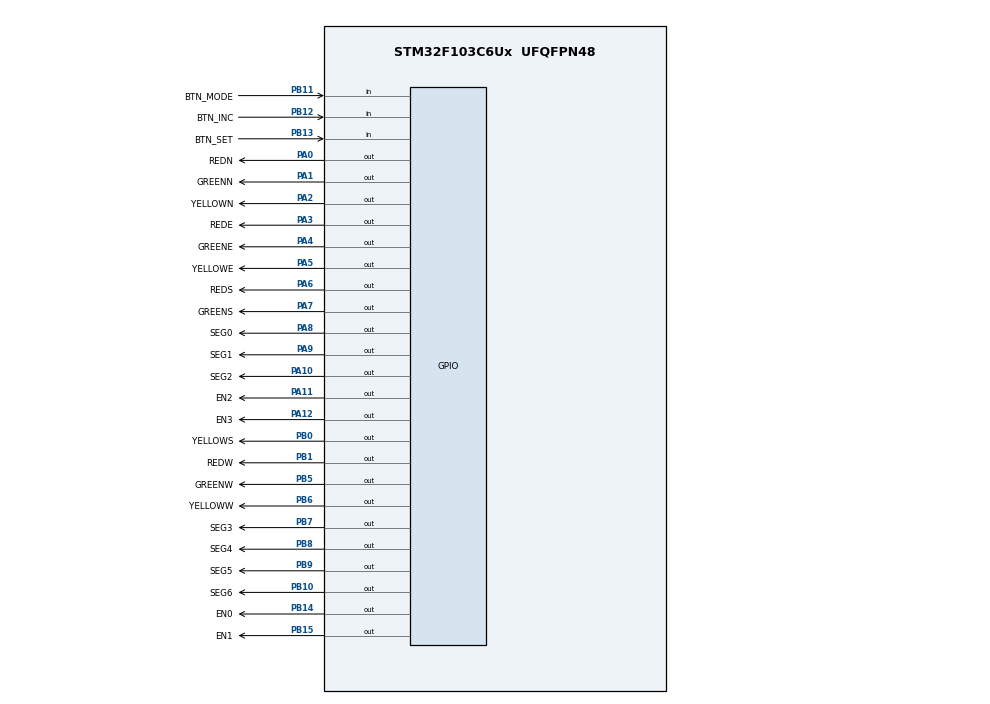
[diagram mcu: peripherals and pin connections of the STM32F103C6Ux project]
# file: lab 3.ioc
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Mcu.Family=STM32F1
Mcu.Name=STM32F103C6Ux
Mcu.Package=UFQFPN48
NVIC.PriorityGroup=NVIC_PRIORITYGROUP_4
NVIC.TIM2_IRQn=true\:0\:0\:false\:false\:true\:true\:true
PA0-WKUP.GPIO_Label=REDN
PA0-WKUP.Signal=GPIO_Output
PA1.GPIO_Label=GREENN
PA1.Signal=GPIO_Output
PA10.GPIO_Label=SEG2
PA10.Signal=GPIO_Output
PA11.GPIO_Label=EN2
PA11.Signal=GPIO_Output
PA12.GPIO_Label=EN3
PA12.Signal=GPIO_Output
PA2.GPIO_Label=YELLOWN
PA2.Signal=GPIO_Output
PA3.GPIO_Label=REDE
PA3.Signal=GPIO_Output
PA4.GPIO_Label=GREENE
PA4.Signal=GPIO_Output
PA5.GPIO_Label=YELLOWE
PA5.Signal=GPIO_Output
PA6.GPIO_Label=REDS
PA6.Signal=GPIO_Output
PA7.GPIO_Label=GREENS
PA7.Signal=GPIO_Output
PA8.GPIO_Label=SEG0
PA8.Signal=GPIO_Output
PA9.GPIO_Label=SEG1
PA9.Signal=GPIO_Output
PB0.GPIO_Label=YELLOWS
PB0.Signal=GPIO_Output
PB1.GPIO_Label=REDW
PB1.Signal=GPIO_Output
PB10.GPIO_Label=SEG6
PB10.Signal=GPIO_Output
PB11.GPIO_Label=BTN_MODE
PB11.Signal=GPIO_Input
PB12.GPIO_Label=BTN_INC
PB12.Signal=GPIO_Input
PB13.GPIO_Label=BTN_SET
PB13.Signal=GPIO_Input
PB14.GPIO_Label=EN0
PB14.Signal=GPIO_Output
PB15.GPIO_Label=EN1
PB15.Signal=GPIO_Output
PB5.GPIO_Label=GREENW
PB5.Signal=GPIO_Output
PB6.GPIO_Label=YELLOWW
PB6.Signal=GPIO_Output
PB7.GPIO_Label=SEG3
PB7.Signal=GPIO_Output
PB8.GPIO_Label=SEG4
PB8.Signal=GPIO_Output
PB9.GPIO_Label=SEG5
PB9.Signal=GPIO_Output
ProjectManager.HeapSize=0x200
ProjectManager.StackSize=0x400
ProjectManager.TargetToolchain=STM32CubeIDE
RCC.APB1Freq_Value=8000000
RCC.APB2Freq_Value=8000000
TIM2.Period=9
TIM2.Prescaler=7999
VP_SYS_VS_ND.Mode=No_Debug
VP_TIM2_VS_ClockSourceINT.Mode=Internal
board=custom

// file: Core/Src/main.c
/* USER CODE BEGIN Header */
/**
  ******************************************************************************
  * @file           : main.c
  * @brief          : Main program body
  ******************************************************************************
  * @attention
  *
  * <h2><center>&copy; Copyright (c) 2026 STMicroelectronics.
  * All rights reserved.</center></h2>
  *
  * This software component is licensed by ST under BSD 3-Clause license,
  * the "License"; You may not use this file except in compliance with the
  * License. You may obtain a copy of the License at:
  *                        opensource.org/licenses/BSD-3-Clause
  *
  ******************************************************************************
  */
/* USER CODE END Header */
#include "main.h"

/* USER CODE BEGIN Includes */
#include "input_reading.h"
#include "led_display.h"
#include <stdint.h>
/* USER CODE END Includes */

TIM_HandleTypeDef htim2;

/* USER CODE BEGIN PV */
static uint8_t mode = 1u;
static uint8_t modeButtonWasPressed = 0u;
static uint8_t redTimeEdit = 1u;       /* Giá trị đang chỉnh */
static uint8_t redTimeSaved = 1u;      /* Giá trị đã lưu */
static uint8_t incButtonWasPressed = 0u;
static uint8_t setButtonWasPressed = 0u;
static uint8_t amberTimeEdit = 1u;
static uint8_t amberTimeSaved = 1u;
static uint8_t greenTimeEdit = 1u;
static uint8_t greenTimeSaved = 1u;
/* USER CODE END PV */

void SystemClock_Config(void);
static void MX_GPIO_Init(void);
static void MX_TIM2_Init(void);

int main(void)
{

  /* MCU Configuration--------------------------------------------------------*/

  /* Reset of all peripherals, Initializes the Flash interface and the Systick. */
  HAL_Init();

  /* Configure the system clock */
  SystemClock_Config();

  /* Initialize all configured peripherals */
  MX_GPIO_Init();
  MX_TIM2_Init();
  /* USER CODE BEGIN 2 */
  /* LED outputs are active-high; 7-segment and PNP digit enables are active-low. */
  HAL_GPIO_WritePin(GPIOA, SEG0_Pin | SEG1_Pin | SEG2_Pin |
                           EN2_Pin | EN3_Pin, GPIO_PIN_SET);
  HAL_GPIO_WritePin(GPIOB, SEG3_Pin | SEG4_Pin | SEG5_Pin | SEG6_Pin |
                           EN0_Pin | EN1_Pin, GPIO_PIN_SET);

  if (HAL_TIM_Base_Start_IT(&htim2) != HAL_OK)
  {
    Error_Handler();
  }
  /* USER CODE END 2 */

  /* Infinite loop */
  while (1)
  {

    /* USER CODE BEGIN 3 */
    uint8_t modeButtonPressed = is_button_pressed(BUTTON_MODE_INDEX);
    uint8_t incButtonPressed = is_button_pressed(BUTTON_INC_INDEX);
    uint8_t setButtonPressed = is_button_pressed(BUTTON_SET_INDEX);
    uint8_t editValue = 0u;

    /* Mode button cycles through modes 1 to 4. */
    if ((modeButtonPressed != 0u) && (modeButtonWasPressed == 0u))
    {
      mode = (mode >= 4u) ? 1u : (uint8_t)(mode + 1u);

      /* Load the last saved value when entering its edit mode. */
      if (mode == 2u)
      {
        redTimeEdit = redTimeSaved;
      }
      else if (mode == 3u)
      {
        amberTimeEdit = amberTimeSaved;
      }
      else if (mode == 4u)
      {
        greenTimeEdit = greenTimeSaved;
      }
    }

    /* Mode 2: edit the main-road red-light duration. */
    if (mode == 2u)
    {
      if ((incButtonPressed != 0u) &&
          (incButtonWasPressed == 0u) &&
          (redTimeEdit < 99u))
      {
        redTimeEdit++;
      }

      if ((setButtonPressed != 0u) &&
          (setButtonWasPressed == 0u))
      {
        redTimeSaved = redTimeEdit;
      }

      editValue = redTimeEdit;
    }
    /* Mode 3: edit the amber-light duration. */
    else if (mode == 3u)
    {
      if ((incButtonPressed != 0u) &&
          (incButtonWasPressed == 0u) &&
          (amberTimeEdit < 99u))
      {
        amberTimeEdit++;
      }

      if ((setButtonPressed != 0u) &&
          (setButtonWasPressed == 0u))
      {
        amberTimeSaved = amberTimeEdit;
      }

      editValue = amberTimeEdit;
    }
    /* Mode 4: edit the green-light duration. */
    else if (mode == 4u)
    {
      if ((incButtonPressed != 0u) &&
          (incButtonWasPressed == 0u) &&
          (greenTimeEdit < 99u))
      {
        greenTimeEdit++;
      }

      if ((setButtonPressed != 0u) &&
          (setButtonWasPressed == 0u))
      {
        greenTimeSaved = greenTimeEdit;
      }

      editValue = greenTimeEdit;
    }
    /* Refresh the display once with the current mode and edit value. */
    led_display_task(mode, editValue);

    /* Update press history after all edge checks. */
    modeButtonWasPressed = modeButtonPressed;
    incButtonWasPressed = incButtonPressed;
    setButtonWasPressed = setButtonPressed;
  }
  /* USER CODE END 3 */
}

void SystemClock_Config(void)
{
  RCC_OscInitTypeDef RCC_OscInitStruct = {0};
  RCC_ClkInitTypeDef RCC_ClkInitStruct = {0};

  /** Initializes the RCC Oscillators according to the specified parameters
  * in the RCC_OscInitTypeDef structure.
  */
  RCC_OscInitStruct.OscillatorType = RCC_OSCILLATORTYPE_HSI;
  RCC_OscInitStruct.HSIState = RCC_HSI_ON;
  RCC_OscInitStruct.HSICalibrationValue = RCC_HSICALIBRATION_DEFAULT;
  RCC_OscInitStruct.PLL.PLLState = RCC_PLL_NONE;
  if (HAL_RCC_OscConfig(&RCC_OscInitStruct) != HAL_OK)
  {
    Error_Handler();
  }
  /** Initializes the CPU, AHB and APB buses clocks
  */
  RCC_ClkInitStruct.ClockType = RCC_CLOCKTYPE_HCLK|RCC_CLOCKTYPE_SYSCLK
                              |RCC_CLOCKTYPE_PCLK1|RCC_CLOCKTYPE_PCLK2;
  RCC_ClkInitStruct.SYSCLKSource = RCC_SYSCLKSOURCE_HSI;
  RCC_ClkInitStruct.AHBCLKDivider = RCC_SYSCLK_DIV1;
  RCC_ClkInitStruct.APB1CLKDivider = RCC_HCLK_DIV1;
  RCC_ClkInitStruct.APB2CLKDivider = RCC_HCLK_DIV1;

  if (HAL_RCC_ClockConfig(&RCC_ClkInitStruct, FLASH_LATENCY_0) != HAL_OK)
  {
    Error_Handler();
  }
}

static void MX_TIM2_Init(void)
{

  TIM_ClockConfigTypeDef sClockSourceConfig = {0};
  TIM_MasterConfigTypeDef sMasterConfig = {0};

  htim2.Instance = TIM2;
  htim2.Init.Prescaler = 799;
  htim2.Init.CounterMode = TIM_COUNTERMODE_UP;
  htim2.Init.Period = 99;
  htim2.Init.ClockDivision = TIM_CLOCKDIVISION_DIV1;
  htim2.Init.AutoReloadPreload = TIM_AUTORELOAD_PRELOAD_DISABLE;
  if (HAL_TIM_Base_Init(&htim2) != HAL_OK)
  {
    Error_Handler();
  }
  sClockSourceConfig.ClockSource = TIM_CLOCKSOURCE_INTERNAL;
  if (HAL_TIM_ConfigClockSource(&htim2, &sClockSourceConfig) != HAL_OK)
  {
    Error_Handler();
  }
  sMasterConfig.MasterOutputTrigger = TIM_TRGO_RESET;
  sMasterConfig.MasterSlaveMode = TIM_MASTERSLAVEMODE_DISABLE;
  if (HAL_TIMEx_MasterConfigSynchronization(&htim2, &sMasterConfig) != HAL_OK)
  {
    Error_Handler();
  }

}

static void MX_GPIO_Init(void)
{
  GPIO_InitTypeDef GPIO_InitStruct = {0};

  /* GPIO Ports Clock Enable */
  __HAL_RCC_GPIOA_CLK_ENABLE();
  __HAL_RCC_GPIOB_CLK_ENABLE();

  /*Configure GPIO pin Output Level */
  HAL_GPIO_WritePin(GPIOA, REDN_Pin|GREENN_Pin|YELLOWN_Pin|REDE_Pin
                          |GREENE_Pin|YELLOWE_Pin|REDS_Pin|GREENS_Pin
                          |SEG0_Pin|SEG1_Pin|SEG2_Pin|EN2_Pin
                          |EN3_Pin, GPIO_PIN_RESET);

  /*Configure GPIO pin Output Level */
  HAL_GPIO_WritePin(GPIOB, YELLOWS_Pin|REDW_Pin|SEG6_Pin|EN0_Pin
                          |EN1_Pin|GREENW_Pin|YELLOWW_Pin|SEG3_Pin
                          |SEG4_Pin|SEG5_Pin, GPIO_PIN_RESET);

  /*Configure GPIO pins : REDN_Pin GREENN_Pin YELLOWN_Pin REDE_Pin
                           GREENE_Pin YELLOWE_Pin REDS_Pin GREENS_Pin
                           SEG0_Pin SEG1_Pin SEG2_Pin EN2_Pin
                           EN3_Pin */
  GPIO_InitStruct.Pin = REDN_Pin|GREENN_Pin|YELLOWN_Pin|REDE_Pin
                          |GREENE_Pin|YELLOWE_Pin|REDS_Pin|GREENS_Pin
                          |SEG0_Pin|SEG1_Pin|SEG2_Pin|EN2_Pin
                          |EN3_Pin;
  GPIO_InitStruct.Mode = GPIO_MODE_OUTPUT_PP;
  GPIO_InitStruct.Pull = GPIO_NOPULL;
  GPIO_InitStruct.Speed = GPIO_SPEED_FREQ_LOW;
  HAL_GPIO_Init(GPIOA, &GPIO_InitStruct);

  /*Configure GPIO pins : YELLOWS_Pin REDW_Pin SEG6_Pin EN0_Pin
                           EN1_Pin GREENW_Pin YELLOWW_Pin SEG3_Pin
                           SEG4_Pin SEG5_Pin */
  GPIO_InitStruct.Pin = YELLOWS_Pin|REDW_Pin|SEG6_Pin|EN0_Pin
                          |EN1_Pin|GREENW_Pin|YELLOWW_Pin|SEG3_Pin
                          |SEG4_Pin|SEG5_Pin;
  GPIO_InitStruct.Mode = GPIO_MODE_OUTPUT_PP;
  GPIO_InitStruct.Pull = GPIO_NOPULL;
  GPIO_InitStruct.Speed = GPIO_SPEED_FREQ_LOW;
  HAL_GPIO_Init(GPIOB, &GPIO_InitStruct);

  /*Configure GPIO pins : BTN_MODE_Pin BTN_INC_Pin BTN_SET_Pin */
  GPIO_InitStruct.Pin = BTN_MODE_Pin|BTN_INC_Pin|BTN_SET_Pin;
  GPIO_InitStruct.Mode = GPIO_MODE_INPUT;
  GPIO_InitStruct.Pull = GPIO_NOPULL;
  HAL_GPIO_Init(GPIOB, &GPIO_InitStruct);

}

void Error_Handler(void)
{
  __disable_irq();
  while (1)
  {
  }
}

/************************ (C) COPYRIGHT STMicroelectronics *****END OF FILE****/
